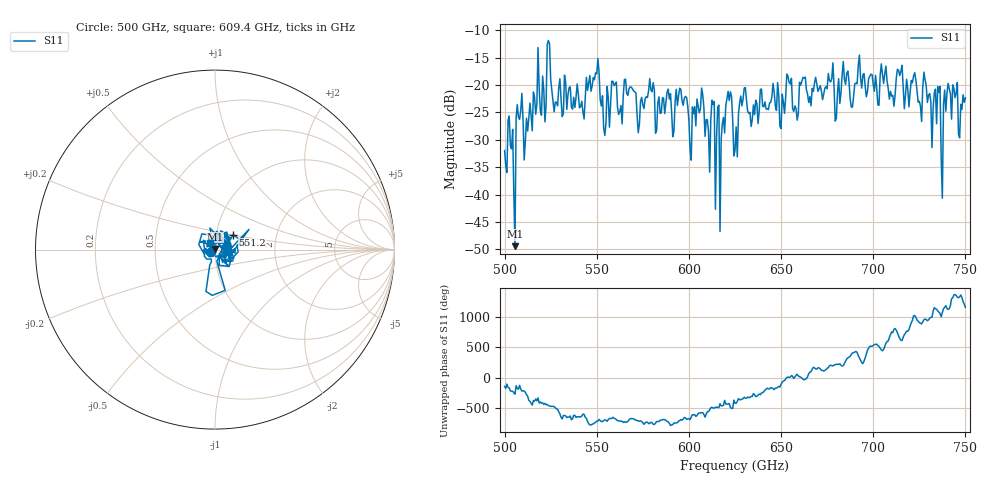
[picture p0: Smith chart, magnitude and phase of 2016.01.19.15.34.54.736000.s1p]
!Created with skrf (http://scikit-rf.org).
# GHz S RI R 50.0
!freq ReS11 ImS11
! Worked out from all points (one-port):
!   401 points, 500 GHz to 750 GHz, reference 50 ohm
!   lowest |S11| = -49.4 dB at 505.6 GHz (marker M1), VSWR 1.01, Z = 50 + j0.337 ohm
!   |S11| at or under -10 dB: start of sweep to end of sweep
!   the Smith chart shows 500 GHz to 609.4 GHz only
!   S11 on the Smith chart (normalised r, x): 500 GHz: 0.96, -0.03; 551.2 GHz: 1.21, +0.20; 609.4 GHz: 0.94, +0.07
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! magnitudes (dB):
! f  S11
! 500 GHz  -32.0
! 503.1 GHz  -31.1
! 504.4 GHz  -28.1
! 505.6 GHz  -49.4
! 508.1 GHz  -26.2
! 511.9 GHz  -26.1
! 516.9 GHz  -25.3
! 521.2 GHz  -20.9
! 524.4 GHz  -12.5
! 526.9 GHz  -24.9
! 531.2 GHz  -25.8
! 551.2 GHz  -17.7
! 553.8 GHz  -27.8
! 559.4 GHz  -20.1
! 562.5 GHz  -24.8
! 593.8 GHz  -23.7
! 609.4 GHz  -26.3
! 615.6 GHz  -24.0
! 621.9 GHz  -22.8
! 625 GHz  -31.9
! 629.4 GHz  -22.6
! 656.2 GHz  -24.3
! 687.5 GHz  -22.6
! 718.8 GHz  -20.8
! 735 GHz  -20.3
! 738.1 GHz  -23.5
! 740 GHz  -21.5
! 750 GHz  -22.3
